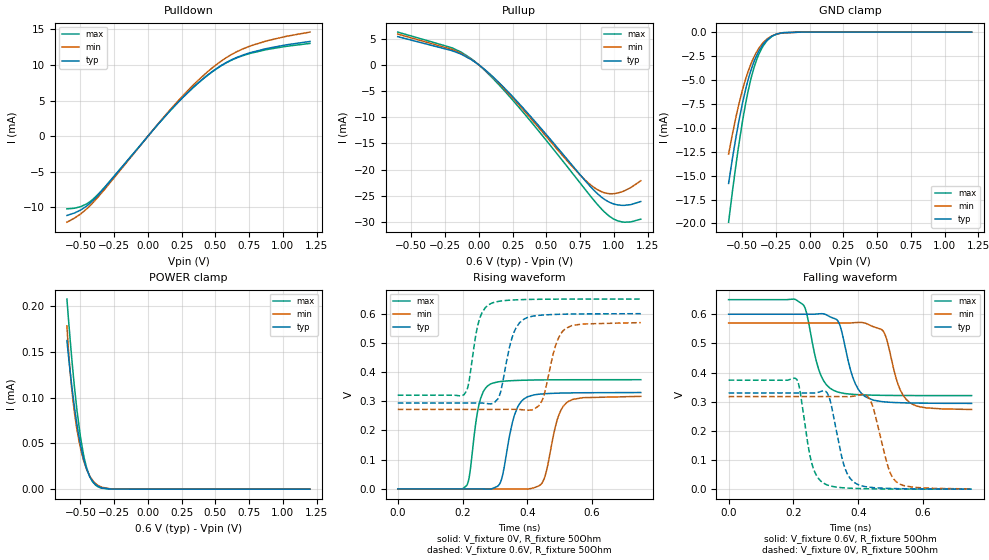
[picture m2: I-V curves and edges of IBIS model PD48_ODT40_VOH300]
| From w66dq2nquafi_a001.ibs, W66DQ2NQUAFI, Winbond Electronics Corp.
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[Model]   PD48_ODT40_VOH300
Model_type   I/O
Polarity   Non-Inverting
Enable   Active-Low
Vinl = 0.08
Vinh = 0.22
Vmeas = 0.15
Vref = 0
Cref = 0pF
Rref = 40
|   typ   min   max
C_comp   1.15pF   1.05pF   1.25pF
[Voltage Range]   0.6   0.57   0.65
[Temperature Range]   25   95   -40
[Pullup Reference]   0.6   0.57   0.65
[Pulldown Reference]   0   0   0
[Power Clamp Reference]   0.6   0.57   0.65
[GND Clamp Reference]   0   0   0
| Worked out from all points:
|   slope of the pulldown table from 0 to 0.09 V, typ, clamps not added: 44.9 ohm
|   slope of the pullup table from 0 to 0.09 V, typ, clamps not added: 46.5 ohm
|   GND clamp passes 1 mA (typ) near -0.33 V on its own axis
|   falling waveform, V_fixture 0.6V, R_fixture 50Ohm: 20-80 % time 44.5ps typ, 44.9ps min, 41.8ps max; typ from 0.6 V to 0.294 V
|   rising waveform, V_fixture 0V, R_fixture 50Ohm: 20-80 % time 37.1ps typ, 38ps min, 28.1ps max; typ from 0 V to 0.33 V
|   rising waveform, V_fixture 0.6V, R_fixture 50Ohm: 20-80 % time 37.6ps typ, 39.7ps min, 30.5ps max; typ from 0.294 V to 0.6 V
|   falling waveform, V_fixture 0V, R_fixture 50Ohm: 20-80 % time 39.8ps typ, 43.7ps min, 35ps max; typ from 0.33 V to 0 V
[Pulldown]
|   Voltage   I(typ)   I(min)   I(max)
-600mV    -11.13mA   -12.08mA   -10.21mA
-498.6mV  -10.37mA   -10.92mA   -9.901mA
-455.7mV  -9.83mA    -10.25mA   -9.526mA
-400.8mV  -8.904mA   -9.21mA    -8.745mA
-313.2mV  -7.078mA   -7.297mA   -7.004mA
166.2mV   3.622mA    3.752mA    3.614mA
332.1mV   6.801mA    7.113mA    6.779mA
502.4mV   9.434mA    9.989mA    9.395mA
624.9mV   10.79mA    11.54mA    10.73mA
762mV     11.76mA    12.7mA     11.66mA
1.013V    12.79mA    13.98mA    12.59mA
1.2V      13.31mA    14.63mA    13.04mA
[GND Clamp]
|   Voltage   I(typ)   I(min)   I(max)
-600mV    -15.82mA   -12.76mA   -19.87mA
-545.4mV  -11mA      -8.877mA   -13.87mA
-498.6mV  -7.532mA   -6.128mA   -9.451mA
-474.6mV  -6.032mA   -4.941mA   -7.515mA
-433.6mV  -3.959mA   -3.306mA   -4.823mA
-410.8mV  -3.059mA   -2.585mA   -3.664mA
-372.6mV  -1.904mA   -1.616mA   -2.213mA
-343.9mV  -1.271mA   -1.098mA   -1.435mA
-282mV    -447.4uA   -417.1uA   -488.7uA
-197mV    -71.55uA   -79.72uA   -57.49uA
-59.4mV   -1.268uA   -3.134uA   -407.9nA
1.2V      0A         0A         0A
[Pullup]
|   Voltage   I(typ)   I(min)   I(max)
-600mV    5.379mA    5.87mA     6.249mA
-197mV    2.679mA    2.922mA    3.229mA
-128.8mV  2.01mA     2.156mA    2.398mA
-2.65mV   48.99uA    51.6uA     59.63uA
126mV     -2.803mA   -2.919mA   -3.171mA
294.4mV   -7.285mA   -7.556mA   -8.028mA
742.3mV   -20.74mA   -20.83mA   -22.3mA
868.9mV   -24.37mA   -23.7mA    -26.38mA
954.6mV   -26.08mA   -24.58mA   -28.66mA
1.028V    -26.76mA   -24.49mA   -29.8mA
1.124V    -26.71mA   -23.48mA   -30.01mA
1.2V      -26.11mA   -22.16mA   -29.49mA
[POWER Clamp]
|   Voltage   I(typ)   I(min)   I(max)
-600mV    162.4uA    178.3uA    207.7uA
-581.8mV  136.1uA    138.4uA    173.3uA
-555.5mV  102.5uA    97.4uA     129uA
-528.8mV  73.47uA    67.85uA    90.43uA
-498.6mV  47.68uA    44.27uA    55.87uA
-474.6mV  32uA       30.42uA    35.73uA
-455.7mV  22.7uA     22.33uA    24.18uA
-433.6mV  14.62uA    15.19uA    14.59uA
-388.5mV  5.366uA    6.312uA    4.479uA
-344.1mV  1.623uA    2.231uA    1.083uA
-266.6mV  135.4nA    324.5nA    18.6nA
1.2V      0A         0A         0A
[Ramp]
R_load = 50
|   typ   min   max
dV/dt_r 1.9798E-01/3.6694E-11   1.9011E-01/3.7902E-11   2.2434E-01/2.8071E-11
dV/dt_f 1.8350E-01/4.4500E-11   1.7804E-01/4.4737E-11   1.9746E-01/4.1665E-11
[Falling Waveform]
V_fixture = 0.6V
V_fixture_min = 0.57V
V_fixture_max = 0.65V
R_fixture = 50Ohm
C_fixture = 0F
|   Time   V(typ)   V(min)   V(max)
0s        600mV      570mV      650mV
229ps     600mV      570mV      633.8mV
278ps     601.2mV    570mV      410.8mV
325ps     585.8mV    570mV      338.2mV
391ps     361.9mV    571.2mV    324.6mV
422ps     317.2mV    569.4mV    323mV
480ps     299.4mV    537.3mV    321.7mV
523ps     296.7mV    359.3mV    321.3mV
558ps     295.7mV    297.9mV    321.1mV
750ps     294.2mV    273.3mV    320.9mV
[Rising Waveform]
V_fixture = 0V
V_fixture_min = 0V
V_fixture_max = 0V
R_fixture = 50Ohm
C_fixture = 0F
|   Time   V(typ)   V(min)   V(max)
0s        4.822uV    15.86uV    954.9nV
212ps     3.058uV    15.86uV    10.81mV
251ps     42.09uV    15.98uV    290.4mV
285ps     -514.5uV   15.06uV    358.4mV
318ps     25.26mV    16.85uV    367.7mV
360ps     252.1mV    57.65uV    371mV
390ps     308.5mV    -524.6uV   372.2mV
446ps     325.2mV    20.99mV    373.2mV
523ps     328.5mV    297.1mV    373.7mV
750ps     330mV      316.9mV    373.9mV
[Rising Waveform]
V_fixture = 0.6V
V_fixture_min = 0.57V
V_fixture_max = 0.65V
R_fixture = 50Ohm
C_fixture = 0F
|   Time   V(typ)   V(min)   V(max)
0s        294mV      272.3mV    320.9mV
204ps     294mV      272.3mV    322.3mV
251ps     294.2mV    272.3mV    576.9mV
293ps     292.6mV    272.3mV    637.2mV
317ps     330mV      272.3mV    643.1mV
359ps     537mV      272.4mV    647mV
390ps     581.7mV    270.5mV    648.3mV
446ps     595.2mV    303.7mV    649.4mV
517ps     598.3mV    548.3mV    649.8mV
750ps     599.9mV    569.4mV    650mV
[Falling Waveform]
|Gnd
V_fixture = 0V
V_fixture_min = 0V
V_fixture_max = 0V
R_fixture = 50Ohm
C_fixture = 0F
|   Time   V(typ)   V(min)   V(max)
0s        330mV      317.5mV    373.9mV
210ps     330mV      317.5mV    377.1mV
256ps     329.7mV    317.5mV    91.87mV
302ps     333mV      317.5mV    15.42mV
354ps     89.83mV    317.3mV    4.63mV
390ps     21.44mV    319.7mV    2.519mV
441ps     5.903mV    295.6mV    1.141mV
492ps     2.697mV    77.13mV    491.5uV
517ps     1.939mV    25.82mV    322.2uV
750ps     93.73uV    821.9uV    -14.82uV
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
